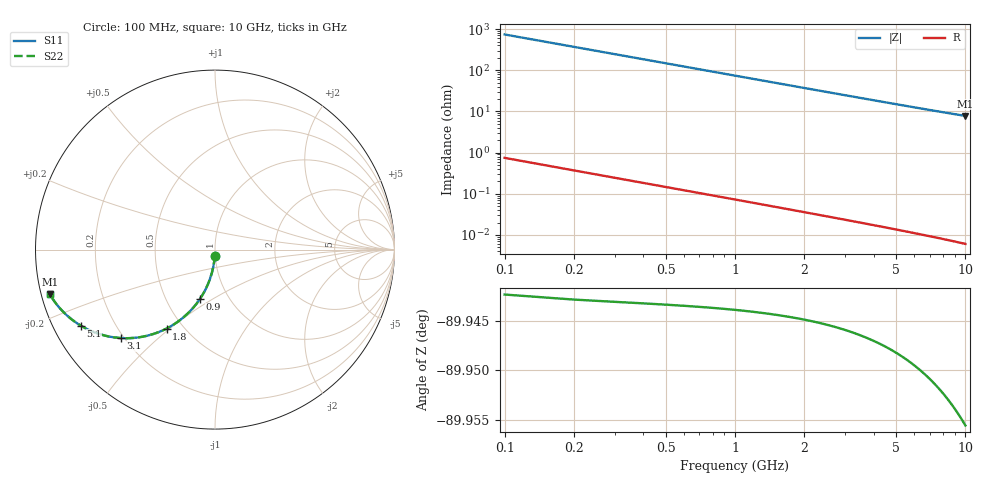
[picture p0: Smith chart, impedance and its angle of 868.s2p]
# Hz S RI R 50.00
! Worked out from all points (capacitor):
!   100 points, 100 MHz to 10 GHz, reference 50 ohm
!   read as one part in shunt: C = 2.15 pF near 100 MHz
!   lowest |Z| = 7.8 ohm at 10 GHz (marker M1)
!   S11 on the Smith chart (normalised r, x): 100 MHz: 1.00, -0.07; 900 MHz: 0.73, -0.44; 1.8 GHz: 0.41, -0.49; 3.1 GHz: 0.19, -0.38; 5.1 GHz: 0.08, -0.26; 10 GHz: 0.02, -0.13
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1e8  -0.00111 -0.0335  0.9988 -0.0339  0.9988 -0.0339  -0.00111 -0.0335
2e8  -0.00453 -0.0668  0.9953 -0.0675  0.9953 -0.0675  -0.00453 -0.0668
3e8  -0.0102 -0.0996  0.9897 -0.1007  0.9897 -0.1007  -0.0102 -0.0996
4e8  -0.0179 -0.1317  0.9819 -0.1333  0.9819 -0.1333  -0.0179 -0.1317
5e8  -0.0278 -0.163  0.9721 -0.1649  0.9721 -0.1649  -0.0278 -0.163
6e8  -0.0395 -0.1932  0.9604 -0.1955  0.9604 -0.1955  -0.0395 -0.1932
7e8  -0.053 -0.2222  0.9469 -0.2249  0.9469 -0.2249  -0.053 -0.2222
9e8  -0.0846 -0.2761  0.9153 -0.2796  0.9153 -0.2796  -0.0846 -0.2761
1.1e9  -0.1212 -0.3238  0.8786 -0.3281  0.8786 -0.3281  -0.1212 -0.3238
1.3e9  -0.1615 -0.365  0.8384 -0.3701  0.8384 -0.3701  -0.1615 -0.365
1.5e9  -0.2041 -0.3996  0.7958 -0.4055  0.7958 -0.4055  -0.2041 -0.3996
1.8e9  -0.2696 -0.4397  0.7302 -0.4468  0.7302 -0.4468  -0.2696 -0.4397
2.1e9  -0.3344 -0.4672  0.6654 -0.4754  0.6654 -0.4754  -0.3344 -0.4672
2.4e9  -0.3962 -0.4839  0.6036 -0.4934  0.6036 -0.4934  -0.3962 -0.4839
3.1e9  -0.5227 -0.4928  0.4771 -0.5051  0.4771 -0.5051  -0.5227 -0.4928
3.4e9  -0.5686 -0.488  0.4312 -0.5015  0.4312 -0.5015  -0.5686 -0.488
4.2e9  -0.6681 -0.462  0.3316 -0.4787  0.3316 -0.4787  -0.6681 -0.462
5.1e9  -0.7484 -0.4231  0.2513 -0.4435  0.2513 -0.4435  -0.7484 -0.4231
5.9e9  -0.7996 -0.3878  0.2 -0.4115  0.2 -0.4115  -0.7996 -0.3878
6.7e9  -0.8376 -0.3545  0.1619 -0.3816  0.1619 -0.3816  -0.8376 -0.3545
8.4e9  -0.8909 -0.2936  0.1084 -0.3279  0.1084 -0.3279  -0.8909 -0.2936
1e10  -0.921 -0.2477  0.078 -0.289  0.078 -0.289  -0.921 -0.2477
